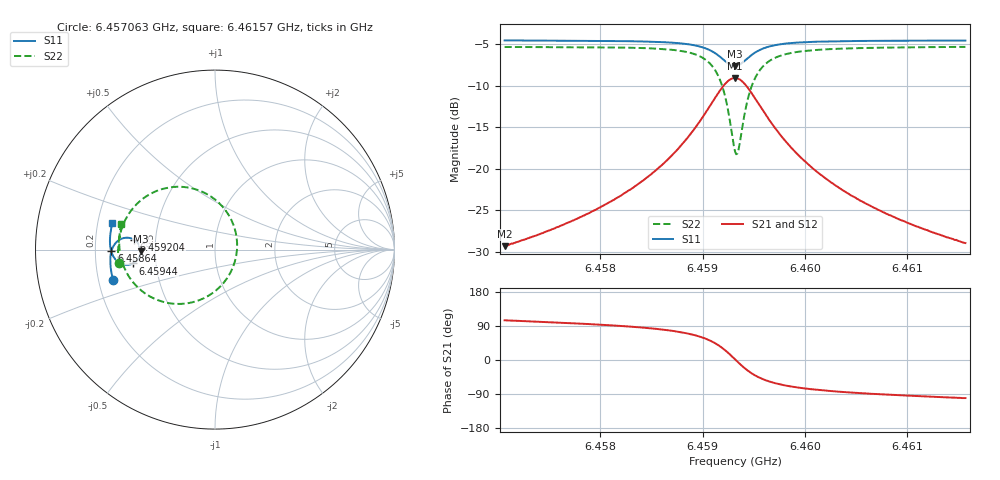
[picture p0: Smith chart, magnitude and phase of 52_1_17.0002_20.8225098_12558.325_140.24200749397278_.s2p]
#  HZ  S  RI  R  50.00
! Rohde & Schwarz Vector Network Analyzer
! Rohde-Schwarz,ZNB20-2Port,1311601062101988,3.16
! Created: UTC 3/20/2024, 10:54:20 PM
! freq[Hz]  re:S11  im:S11  re:S21  im:S21  re:S12  im:S12  re:S22  im:S22
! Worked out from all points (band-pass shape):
!   401 points, 6.457063 GHz to 6.46157 GHz, reference 50 ohm
!   highest |S21| = -9.06 dB at 6.459316 GHz (marker M1); lowest = -29.3 dB at 6.457063 GHz (marker M2)
!   |S21| within 3 dB of the highest: 6.45909 GHz to 6.459541 GHz (450.5 kHz wide, 0.00698 % of centre)
!   lowest |S11| = -7.7 dB at 6.459316 GHz (marker M3), VSWR 2.41, Z = 20.7 - j0.492 ohm
!   |S11| at or under -10 dB: nowhere
!   |S22| runs from -18.2 to -5.3 dB; largest |S21 - S12| = 0.014
!   S11 on the Smith chart (normalised r, x): 6.457063 GHz: 0.26, -0.13; 6.45864 GHz: 0.27, -0.01; 6.459204 GHz: 0.38, +0.05; 6.45944 GHz: 0.37, -0.07; 6.46157 GHz: 0.26, +0.12
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6.4570625e9  -0.5678 -0.167  -0.00873 0.0332  -0.0068 0.0332  -0.5351 -0.0763
6.4578175e9  -0.581 -0.1005  -0.00522 0.0515  -0.00265 0.0508  -0.539 0.0134
6.4582232e9  -0.5835 -0.0596  0.00068 0.0706  0.00397 0.0691  -0.5303 0.0786
6.4585726e9  -0.5794 -0.0174  0.0154 0.1006  0.0193 0.0978  -0.503 0.1586
6.4586402e9  -0.5771 -0.00784  0.0208 0.109  0.0248 0.1059  -0.4926 0.1787
6.4588318e9  -0.564 0.0226  0.0481 0.1405  0.0522 0.1356  -0.4412 0.2483
6.4589783e9  -0.5407 0.0489  0.0946 0.1714  0.0979 0.1645  -0.3555 0.3127
6.4591135e9  -0.4957 0.0662  0.1837 0.1875  0.1847 0.1801  -0.1926 0.35
6.4592037e9  -0.4503 0.0552  0.2753 0.1547  0.2755 0.1489  -0.0232 0.296
6.4592713e9  -0.4208 0.022  0.3363 0.0807  0.3385 0.0753  0.0926 0.1621
6.4593164e9  -0.4141 -0.00985  0.3522 0.0112  0.3561 0.00415  0.1234 0.0321
6.4593502e9  -0.4183 -0.0341  0.3456 -0.0422  0.3497 -0.0516  0.11 -0.069
6.4593953e9  -0.4345 -0.0607  0.3158 -0.1027  0.318 -0.115  0.0495 -0.1834
6.4594403e9  -0.457 -0.0773  0.2727 -0.144  0.2717 -0.1576  -0.0382 -0.2582
6.4595305e9  -0.5012 -0.0843  0.1861 -0.1748  0.1798 -0.1864  -0.2104 -0.3026
6.4595981e9  -0.5259 -0.0769  0.137 -0.1725  0.1289 -0.1813  -0.3048 -0.2862
6.459677e9  -0.5459 -0.0636  0.097 -0.16  0.0883 -0.1663  -0.3797 -0.2507
6.4598348e9  -0.5677 -0.0359  0.0516 -0.1312  0.0438 -0.134  -0.4604 -0.177
6.4600714e9  -0.5806 -0.000317  0.0223 -0.0989  0.0164 -0.0995  -0.5084 -0.0935
6.4604208e9  -0.5853 0.0416  0.00579 -0.071  0.00173 -0.0705  -0.53 -0.0117
6.4608265e9  -0.5836 0.0826  -0.00161 -0.0527  -0.0045 -0.0519  -0.5336 0.0543
6.4615702e9  -0.5719 0.1488  -0.00649 -0.0352  -0.00833 -0.0342  -0.5222 0.1433
